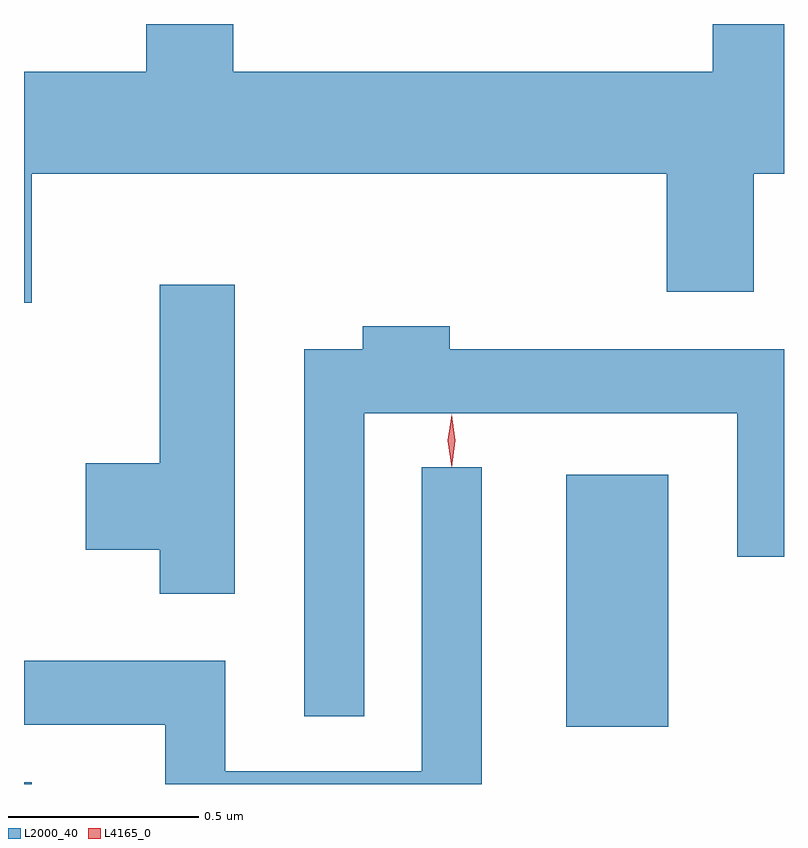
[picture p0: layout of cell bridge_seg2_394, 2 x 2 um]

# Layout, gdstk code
import gdstk
lib = gdstk.Library(unit=1e-6, precision=1e-09)
def R(c, l, rs):  # rectangles x0, y0, x1, y1
    for r in rs: c.add(gdstk.rectangle(r[:2], r[2:], *l))
def P(c, l, *ps):  # polygons
    for p in ps: c.add(gdstk.Polygon(p, *l))
L2000_40 = (2000, 40)
L4165_0 = (4165, 0)

bridge_seg2_394 = lib.new_cell('bridge_seg2_394')
R(bridge_seg2_394, L2000_40, [(628.229,1022.29,628.249,1022.294), (629.656,1022.441,629.924,1023.104)])
P(bridge_seg2_394, L2000_40, [(628.249,1023.896),(629.921,1023.896),(629.921,1023.586),(630.149,1023.586),(630.149,1023.896),(630.229,1023.896),(630.229,1024.29),(630.041,1024.29),(630.041,1024.164),(628.779,1024.164),(628.779,1024.29),(628.551,1024.29),(628.551,1024.164),(628.229,1024.164),(628.229,1023.556),(628.249,1023.556)],
  [(628.784,1023.604),(628.586,1023.604),(628.586,1023.134),(628.391,1023.134),(628.391,1022.906),(628.586,1022.906),(628.586,1022.791),(628.784,1022.791)],
  [(629.124,1023.266),(630.106,1023.266),(630.106,1022.888),(630.229,1022.888),(630.229,1023.434),(629.349,1023.434),(629.349,1023.494),(629.121,1023.494),(629.121,1023.434),(628.966,1023.434),(628.966,1022.468),(629.124,1022.468)],
  [(629.434,1023.123),(629.276,1023.123),(629.276,1022.324),(628.759,1022.324),(628.759,1022.614),(628.229,1022.614),(628.229,1022.446),(628.601,1022.446),(628.601,1022.29),(629.434,1022.29)])
P(bridge_seg2_394, L4165_0, [(629.354,1023.127),(629.354,1023.127),(629.344,1023.194),(629.354,1023.26),(629.354,1023.261),(629.355,1023.26),(629.364,1023.194),(629.355,1023.127)],
  [(629.354,1023.124),(629.354,1023.124),(629.344,1023.193),(629.354,1023.262),(629.354,1023.263),(629.355,1023.262),(629.364,1023.193),(629.355,1023.124)])

lib.write_gds('bridge_seg2_394.gds')
